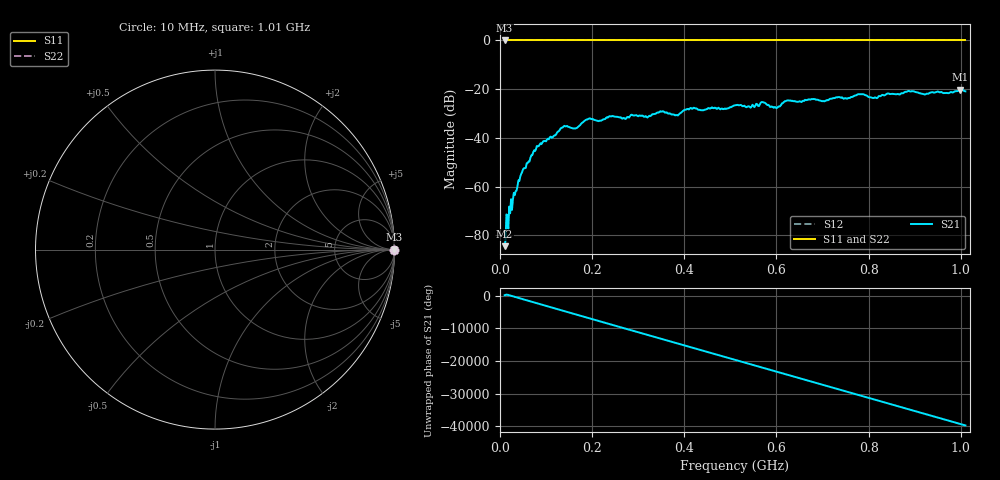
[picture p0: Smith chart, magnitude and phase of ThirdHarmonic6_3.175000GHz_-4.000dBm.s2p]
! 8/17/2025 9:34:13 AM
! C:\ANRITSUVNA\TEMP\TEMP.S2P
! CHANNEL.1
! TR.MEASUREMENT
! RAW.DATA
! RF.CORRECTION.OFF
! AVERAGING.OFF
! IF.BANDWIDTH: 5KHZ
! SWEEPTYPE:  FREQ.SWEEP(Linear)
! Reference Plane Port Info
! PORT:  PORT1  PORT2
! DISTANCE:  0  m  0  m
! TIME:  0  s  0  s
! PHASE.OFFSET:  0  deg.  0  deg.
! LOSS:  0  dB  0  dB
! REF.LOSS:  0  dB  0  dB
! REF.FREQ:  0  Hz  0  Hz
! Power Info
! POWER:  -20  dBm  -20  dBm
! EFF.POWER:  -20  dBm  -20  dBm
! SOURCE.ATTEN:  0  dB  0  dB
! TEST.ATTEN:  0  dB  0  dB
# GHZ S RI R 50.0
! FREQ.GHZ  S11RE  S11IM  S21RE  S21IM  S12RE  S12IM  S22RE  S22IM
!; PortSelection: Port_12
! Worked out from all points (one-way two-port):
!   501 points, 10 MHz to 1.01 GHz, reference 50 ohm
!   highest |S21| = -20.14 dB at 998 MHz (marker M1); lowest = -84.4 dB at 10 MHz (marker M2)
!   lowest |S11| = 0.0 dB at 10 MHz (marker M3)
!   |S11| at or under -10 dB: nowhere
!   |S22| runs from 0.0 to 0.0 dB; largest |S21 - S12| = 1.1
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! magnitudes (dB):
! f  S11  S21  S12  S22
! 10 MHz  0.0  -84.4  0.0  0.0
! 24 MHz  0.0  -65.1  0.0  0.0
! 44 MHz  0.0  -55.8  0.0  0.0
! 76 MHz  0.0  -45.4  0.0  0.0
! 136 MHz  0.0  -35.7  0.0  0.0
! 164 MHz  0.0  -36.1  0.0  0.0
! 178 MHz  0.0  -33.8  0.0  0.0
! 192 MHz  0.0  -32.1  0.0  0.0
! 318 MHz  0.0  -31.3  0.0  0.0
! 344 MHz  0.0  -29.6  0.0  0.0
! 384 MHz  0.0  -30.6  0.0  0.0
! 416 MHz  0.0  -28.0  0.0  0.0
! 510 MHz  0.0  -26.6  0.0  0.0
! 570 MHz  0.0  -25.3  0.0  0.0
! 598 MHz  0.0  -27.4  0.0  0.0
! 622 MHz  0.0  -24.7  0.0  0.0
! 678 MHz  0.0  -24.1  0.0  0.0
! 780 MHz  0.0  -22.0  0.0  0.0
! 814 MHz  0.0  -23.3  0.0  0.0
! 844 MHz  0.0  -21.8  0.0  0.0
! 998 MHz  0.0  -20.1  0.0  0.0
! 1.01 GHz  0.0  -20.9  0.0  0.0
